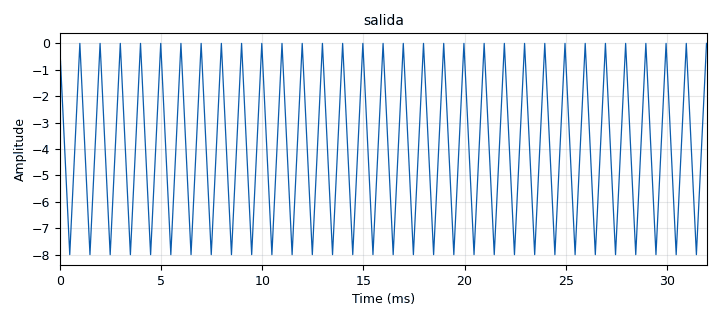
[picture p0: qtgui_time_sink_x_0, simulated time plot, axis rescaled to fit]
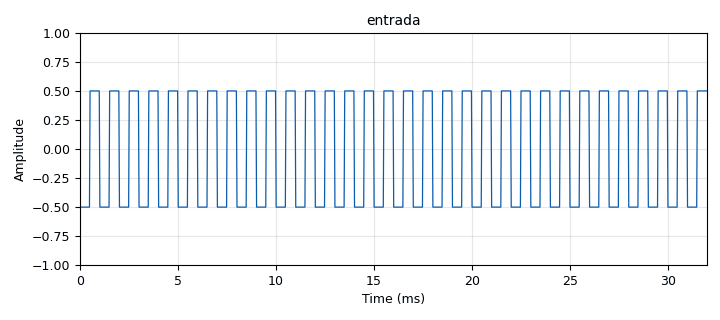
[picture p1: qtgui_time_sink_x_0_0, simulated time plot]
options:
  parameters:
    generate_options: qt_gui
    id: acumulador
    output_language: python
    title: Not titled yet
  states: {}

blocks:
- name: samp_rate
  id: variable
  parameters:
    value: '32000'
  states: {}
- name: analog_sig_source_x_0
  id: analog_sig_source_x
  parameters:
    amp: '1'
    freq: '1000'
    offset: '-0.5'
    phase: '0'
    samp_rate: samp_rate
    type: float
    waveform: analog.GR_SQR_WAVE
  states: {}
- name: epy_block_0
  id: epy_block
  parameters:
    _source_code: |
      #!/usr/bin/env python
      # -*- coding: utf-8 -*-
      #
      # Bloque Python de GNU Radio: Acumulador (versión depurada)
      # Descripción: Acumula las muestras de entrada y entrega la suma acumulada.
      #

      from gnuradio import gr
      import numpy as np

      class Accumulator(gr.sync_block):
          def __init__(self):
              gr.sync_block.__init__(self,
                  name="Accumulator",
                  in_sig=[np.float32],
                  out_sig=[np.float32])
              # Estado interno para guardar la suma acumulada
              self.cum_sum = 0.0

          def work(self, input_items, output_items):
              in0 = input_items[0]
              out = output_items[0]
              # Acumula cada muestra y asigna la suma a la salida
              for i, sample in enumerate(in0):
                  self.cum_sum += sample
                  out[i] = self.cum_sum

              # Depuración: imprime algunos valores del bloque
              print("Procesando", len(in0), "muestras | Primer valor:", out[0], 
                    "Último valor:", out[-1], "Estado acumulado:", self.cum_sum)
              return len(out)
  states: {}
- name: qtgui_time_sink_x_0
  id: qtgui_time_sink_x
  parameters:
    name: salida
    size: '1024'
    srate: samp_rate
    type: float
  states: {}
- name: qtgui_time_sink_x_0_0
  id: qtgui_time_sink_x
  parameters:
    name: entrada
    size: '1024'
    srate: samp_rate
    type: float
  states: {}

connections:
- [analog_sig_source_x_0, '0', epy_block_0, '0']
- [analog_sig_source_x_0, '0', qtgui_time_sink_x_0_0, '0']
- [epy_block_0, '0', qtgui_time_sink_x_0, '0']

metadata:
  file_format: 1
  grc_version: 3.10.10.0
